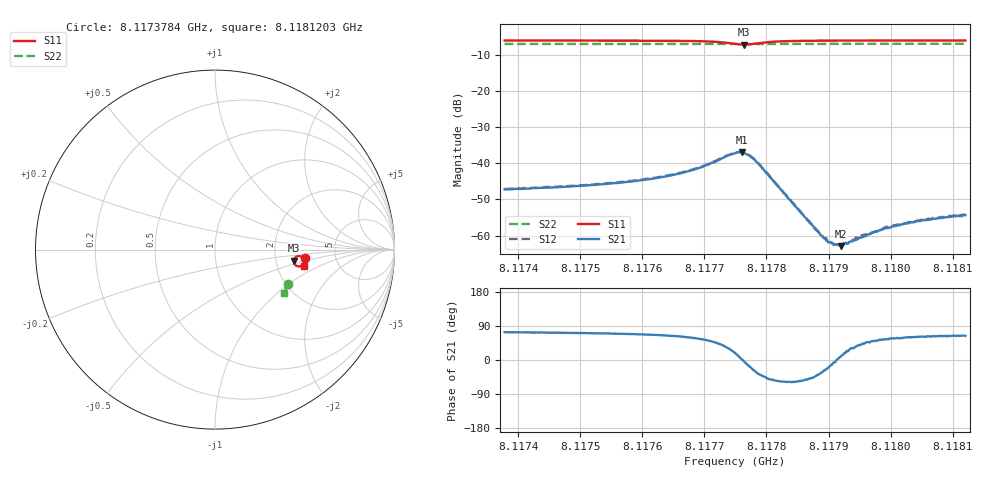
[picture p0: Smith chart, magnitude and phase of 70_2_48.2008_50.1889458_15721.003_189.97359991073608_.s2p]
#  HZ  S  RI  R  50.00
! Rohde & Schwarz Vector Network Analyzer
! Rohde-Schwarz,ZNB20-2Port,1311601062101988,3.16
! Created: UTC 3/20/2024, 11:39:08 AM
! freq[Hz]  re:S11  im:S11  re:S21  im:S21  re:S12  im:S12  re:S22  im:S22
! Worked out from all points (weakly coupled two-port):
!   401 points, 8.1173784 GHz to 8.1181203 GHz, reference 50 ohm
!   highest |S21| = -36.91 dB at 8.1177605 GHz (marker M1); lowest = -62.9 dB at 8.11792 GHz (marker M2)
!   lowest |S11| = -7.1 dB at 8.1177642 GHz (marker M3), VSWR 2.59, Z = 126 - j19.1 ohm
!   |S11| at or under -10 dB: nowhere
!   |S22| runs from -6.9 to -6.9 dB; largest |S21 - S12| = 0.00046
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8.11737843e9  0.5033 -0.0472  0.00124 0.00419  0.00134 0.00427  0.4078 -0.1943
8.1175027e9  0.5015 -0.0589  0.00158 0.00464  0.0017 0.00469  0.4044 -0.2023
8.11756391e9  0.4998 -0.0656  0.00192 0.00505  0.00203 0.00514  0.4025 -0.2063
8.11762697e9  0.4965 -0.0741  0.00261 0.00578  0.00273 0.0059  0.4005 -0.2104
8.11768633e9  0.4883 -0.0857  0.0045 0.00702  0.00465 0.00713  0.3982 -0.2144
8.11774939e9  0.4457 -0.0838  0.0132 0.00439  0.0134 0.00433  0.3946 -0.2175
8.11776052e9  0.4387 -0.0673  0.0143 0.000322  0.0143 0.000293  0.3941 -0.2173
8.11776423e9  0.4388 -0.0608  0.0139 -0.0011  0.0141 -0.00121  0.3942 -0.2173
8.1177735e9  0.4452 -0.0463  0.012 -0.00386  0.0121 -0.00425  0.3942 -0.2173
8.11778463e9  0.459 -0.037  0.00864 -0.00568  0.00876 -0.00586  0.3947 -0.2177
8.11781802e9  0.4872 -0.0429  0.00277 -0.00402  0.00278 -0.0041  0.3948 -0.2203
8.11787366e9  0.4973 -0.0597  0.000954 -0.00102  0.000959 -0.00106  0.3933 -0.2245
8.1178885e9  0.498 -0.0626  0.000837 -0.000556  0.000837 -0.000556  0.3929 -0.2254
8.11790148e9  0.4983 -0.065  0.000776 -0.000242  0.000768 -0.000255  0.3926 -0.2261
8.11791261e9  0.4984 -0.067  0.000759 -7.71e-06  0.000752 2.76e-06  0.3922 -0.2271
8.11792003e9  0.4986 -0.0682  0.000703 0.000119  0.000735 0.000145  0.3921 -0.2275
8.11793301e9  0.4986 -0.0701  0.000724 0.000353  0.000726 0.000363  0.3915 -0.2284
8.11795713e9  0.4986 -0.0733  0.000715 0.000661  0.000742 0.00072  0.3907 -0.2298
8.11797382e9  0.4987 -0.0755  0.000712 0.000856  0.000728 0.000875  0.3902 -0.231
8.11799793e9  0.4985 -0.0782  0.000718 0.00108  0.000758 0.0011  0.3892 -0.2325
8.11804616e9  0.4979 -0.0832  0.000751 0.00139  0.000769 0.0014  0.3877 -0.2356
8.11812035e9  0.4971 -0.0901  0.000853 0.00172  0.000873 0.00176  0.3852 -0.2401
